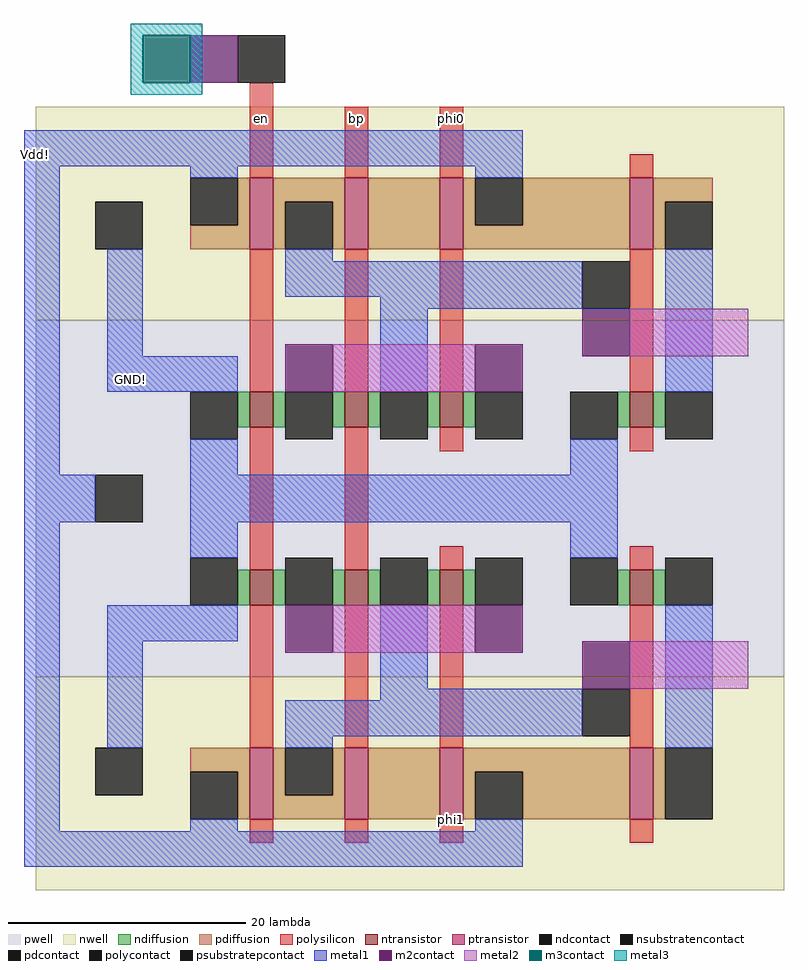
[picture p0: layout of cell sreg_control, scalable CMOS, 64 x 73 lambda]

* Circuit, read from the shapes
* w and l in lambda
.subckt sreg_control GND! Vdd! bp en phi0 phi1
M1 n1 en GND! Vdd! nfet w=3 l=2
M2 n2 en GND! Vdd! nfet w=3 l=2
M3 n3 bp n1 Vdd! nfet w=3 l=2
M4 n4 bp n2 Vdd! nfet w=3 l=2
M5 n1 phi1 n3 Vdd! nfet w=3 l=2
M6 n2 phi0 n4 Vdd! nfet w=3 l=2
M7 n5 n3 GND! Vdd! nfet w=3 l=2
M8 n6 n4 GND! Vdd! nfet w=3 l=2
M9 n3 en Vdd! GND! pfet w=6 l=2
M10 n4 en Vdd! GND! pfet w=6 l=2
M11 n7 bp n3 GND! pfet w=6 l=2
M12 n8 bp n4 GND! pfet w=6 l=2
M13 Vdd! phi1 n7 GND! pfet w=6 l=2
M14 Vdd! phi0 n8 GND! pfet w=6 l=2
M15 n5 n3 Vdd! GND! pfet w=6 l=2
M16 n6 n4 Vdd! GND! pfet w=6 l=2
.ends

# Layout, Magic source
magic
tech scmos
<< nwell >>
rect -13 -6 50 12
rect -13 -54 50 -36
<< pwell >>
rect -13 -36 50 -6
<< ntransistor >>
rect 5 -15 7 -12
rect 13 -15 15 -12
rect 5 -30 7 -27
rect 21 -15 23 -12
rect 37 -15 39 -12
rect 13 -30 15 -27
rect 21 -30 23 -27
rect 37 -30 39 -27
<< ptransistor >>
rect 5 0 7 6
rect 13 0 15 6
rect 21 0 23 6
rect 37 0 39 6
rect 5 -48 7 -42
rect 13 -48 15 -42
rect 21 -48 23 -42
rect 37 -48 39 -42
<< ndiffusion >>
rect 4 -15 5 -12
rect 7 -15 8 -12
rect 12 -15 13 -12
rect 15 -15 16 -12
rect 4 -30 5 -27
rect 7 -30 8 -27
rect 20 -15 21 -12
rect 23 -15 24 -12
rect 36 -15 37 -12
rect 39 -15 40 -12
rect 12 -30 13 -27
rect 15 -30 16 -27
rect 20 -30 21 -27
rect 23 -30 24 -27
rect 36 -30 37 -27
rect 39 -30 40 -27
<< pdiffusion >>
rect 4 2 5 6
rect 0 0 5 2
rect 7 4 13 6
rect 7 0 8 4
rect 12 0 13 4
rect 15 0 21 6
rect 23 2 24 6
rect 28 2 37 6
rect 23 0 37 2
rect 39 4 44 6
rect 39 0 40 4
rect 0 -44 5 -42
rect 4 -48 5 -44
rect 7 -46 8 -42
rect 12 -46 13 -42
rect 7 -48 13 -46
rect 15 -48 21 -42
rect 23 -44 37 -42
rect 23 -48 24 -44
rect 28 -48 37 -44
rect 39 -48 40 -42
<< ndcontact >>
rect 0 -16 4 -12
rect 0 -30 4 -26
rect 8 -16 12 -12
rect 8 -30 12 -26
rect 16 -16 20 -12
rect 24 -16 28 -12
rect 32 -16 36 -12
rect 40 -16 44 -12
rect 16 -30 20 -26
rect 24 -30 28 -26
rect 32 -30 36 -26
rect 40 -30 44 -26
<< pdcontact >>
rect 0 2 4 6
rect 8 0 12 4
rect 24 2 28 6
rect 40 0 44 4
rect 0 -48 4 -44
rect 8 -46 12 -42
rect 24 -48 28 -44
rect 40 -48 44 -42
<< psubstratepcontact >>
rect -8 -23 -4 -19
<< nsubstratencontact >>
rect -8 0 -4 4
rect -8 -46 -4 -42
<< polysilicon >>
rect 5 6 7 14
rect 13 6 15 12
rect 21 6 23 12
rect 37 6 39 8
rect 5 -12 7 0
rect 13 -12 15 0
rect 21 -12 23 0
rect 37 -12 39 0
rect 5 -27 7 -15
rect 13 -27 15 -15
rect 21 -17 23 -15
rect 37 -17 39 -15
rect 21 -27 23 -25
rect 37 -27 39 -25
rect 5 -42 7 -30
rect 13 -42 15 -30
rect 21 -42 23 -30
rect 37 -42 39 -30
rect 5 -50 7 -48
rect 13 -50 15 -48
rect 21 -50 23 -48
rect 37 -50 39 -48
<< polycontact >>
rect 4 14 8 18
rect 33 -5 37 -1
rect 33 -41 37 -37
<< metal1 >>
rect -14 7 28 10
rect -14 -19 -11 7
rect 0 6 4 7
rect 24 6 28 7
rect -7 -9 -4 0
rect 8 -1 12 0
rect 8 -4 33 -1
rect 16 -5 33 -4
rect -7 -12 4 -9
rect 16 -12 20 -5
rect 40 -12 44 0
rect 0 -19 4 -16
rect 32 -19 36 -16
rect -14 -23 -8 -19
rect 0 -23 36 -19
rect -14 -49 -11 -23
rect 0 -26 4 -23
rect 32 -26 36 -23
rect -7 -33 4 -30
rect -7 -42 -4 -33
rect 16 -37 20 -30
rect 16 -38 33 -37
rect 8 -41 33 -38
rect 8 -42 12 -41
rect 40 -42 44 -30
rect 0 -49 4 -48
rect 24 -49 28 -48
rect -14 -52 28 -49
<< m2contact >>
rect 0 14 4 18
rect 8 -12 12 -8
rect 24 -12 28 -8
rect 33 -9 37 -5
rect 8 -34 12 -30
rect 24 -34 28 -30
rect 33 -37 37 -33
<< metal2 >>
rect 12 -12 24 -8
rect 37 -9 47 -5
rect 12 -34 24 -30
rect 37 -37 47 -33
<< m3contact >>
rect -4 14 0 18
<< metal3 >>
rect -5 18 1 19
rect -5 14 -4 18
rect 0 14 1 18
rect -5 13 1 14
<< labels >>
rlabel metal1 -13 8 -13 8 4 Vdd!
rlabel metal1 -5 -11 -5 -11 1 GND!
rlabel polysilicon 6 11 6 11 5 en
rlabel polysilicon 14 11 14 11 5 bp
rlabel polysilicon 22 11 22 11 5 phi0
rlabel polysilicon 22 -48 22 -48 1 phi1
<< end >>
